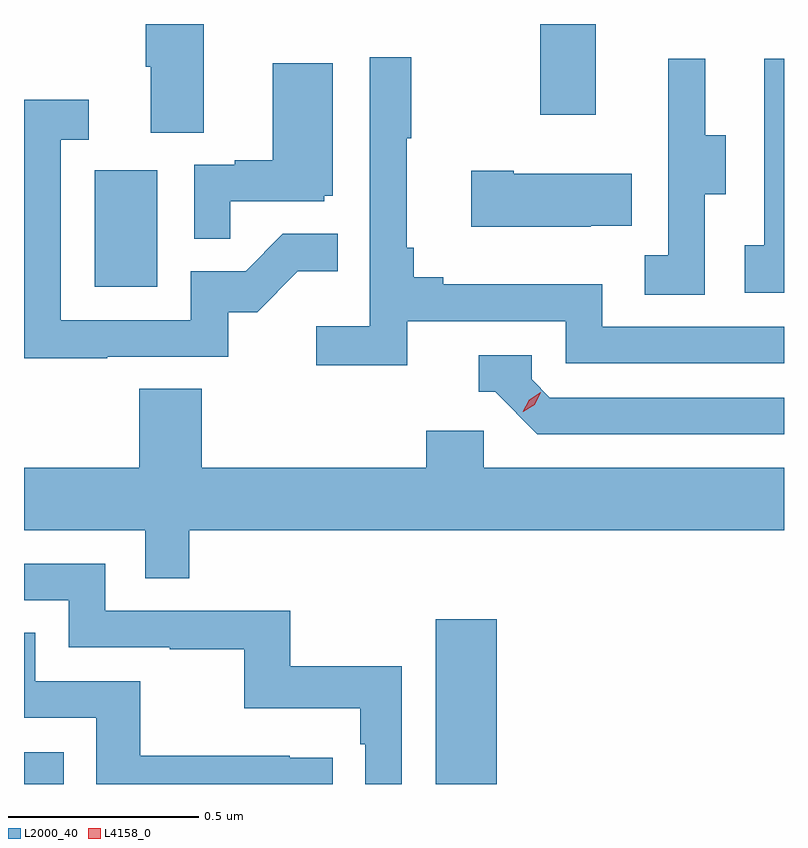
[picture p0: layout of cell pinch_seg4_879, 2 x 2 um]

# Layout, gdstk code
import gdstk
lib = gdstk.Library(unit=1e-6, precision=1e-09)
def R(c, l, rs):  # rectangles x0, y0, x1, y1
    for r in rs: c.add(gdstk.rectangle(r[:2], r[2:], *l))
def P(c, l, *ps):  # polygons
    for p in ps: c.add(gdstk.Polygon(p, *l))
L2000_40 = (2000, 40)
L4158_0 = (4158, 0)

pinch_seg4_879 = lib.new_cell('pinch_seg4_879')
R(pinch_seg4_879, L2000_40, [(845.12,801.48,845.225,801.564), (846.203,801.48,846.364,801.913), (845.306,802.788,845.47,803.095), (846.478,803.241,846.625,803.48)])
P(pinch_seg4_879, L2000_40, [(845.593,803.48),(845.441,803.48),(845.441,803.368),(845.453,803.368),(845.453,803.194),(845.593,803.194)],
  [(846.128,802.698),(846.546,802.698),(846.546,802.587),(847.12,802.587),(847.12,802.683),(846.642,802.683),(846.642,802.795),(846.223,802.795),(846.223,802.814),(846.146,802.814),(846.146,802.891),(846.127,802.891),(846.127,803.179),(846.139,803.179),(846.139,803.392),(846.03,803.392),(846.03,802.684),(845.889,802.684),(845.889,802.582),(846.128,802.582)],
  [(846.912,803.032),(846.967,803.032),(846.967,803.187),(846.913,803.187),(846.913,803.389),(846.815,803.389),(846.815,803.175),(846.816,803.175),(846.816,802.871),(846.753,802.871),(846.753,802.768),(846.912,802.768)],
  [(847.12,803.389),(847.068,803.389),(847.068,802.898),(847.017,802.898),(847.017,802.773),(847.12,802.773)],
  [(845.663,803.013),(845.91,803.013),(845.91,803.028),(845.932,803.028),(845.932,803.377),(845.774,803.377),(845.774,803.122),(845.675,803.122),(845.675,803.109),(845.568,803.109),(845.568,802.915),(845.663,802.915)],
  [(845.339,802.605),(845.658,802.605),(845.658,802.722),(845.734,802.722),(845.841,802.829),(845.945,802.829),(845.945,802.928),(845.801,802.928),(845.703,802.83),(845.559,802.83),(845.559,802.701),(845.217,802.701),(845.217,803.175),(845.29,803.175),(845.29,803.281),(845.12,803.281),(845.12,802.6),(845.339,802.6)],
  [(846.611,802.949),(846.719,802.949),(846.719,803.086),(846.409,803.086),(846.409,803.094),(846.297,803.094),(846.297,802.946),(846.611,802.946)],
  [(847.12,802.497),(846.504,802.497),(846.456,802.545),(846.456,802.608),(846.317,802.608),(846.317,802.512),(846.36,802.512),(846.471,802.401),(847.12,802.401)],
  [(845.555,802.148),(847.12,802.148),(847.12,802.312),(846.33,802.312),(846.33,802.41),(846.179,802.41),(846.179,802.312),(845.588,802.312),(845.588,802.52),(845.423,802.52),(845.423,802.312),(845.12,802.312),(845.12,802.148),(845.439,802.148),(845.439,802.021),(845.555,802.021)],
  [(846.114,801.79),(845.821,801.79),(845.821,801.936),(845.334,801.936),(845.334,802.059),(845.12,802.059),(845.12,801.963),(845.238,801.963),(845.238,801.84),(845.503,801.84),(845.503,801.835),(845.7,801.835),(845.7,801.68),(846.005,801.68),(846.005,801.584),(846.018,801.584),(846.018,801.48),(846.114,801.48)],
  [(845.932,801.549),(845.819,801.549),(845.819,801.554),(845.426,801.554),(845.426,801.75),(845.149,801.75),(845.149,801.878),(845.12,801.878),(845.12,801.654),(845.31,801.654),(845.31,801.48),(845.932,801.48)])
P(pinch_seg4_879, L4158_0, [(846.433,802.459),(846.433,802.459),(846.449,802.491),(846.48,802.511),(846.48,802.511),(846.48,802.51),(846.464,802.478),(846.434,802.459)])

lib.write_gds('pinch_seg4_879.gds')
